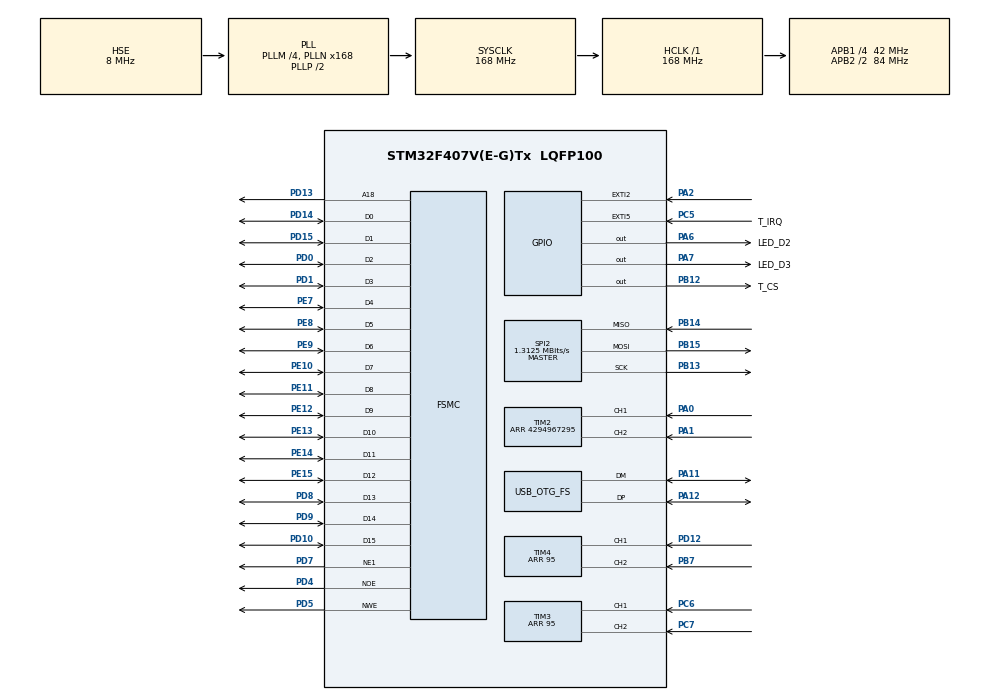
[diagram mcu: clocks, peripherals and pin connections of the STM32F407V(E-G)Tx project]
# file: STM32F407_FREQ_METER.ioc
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FSMC.AddressSetupTime1=6
FSMC.BusTurnAroundDuration1=0
FSMC.DataSetupTime1=6
Mcu.Family=STM32F4
Mcu.Name=STM32F407V(E-G)Tx
Mcu.Package=LQFP100
NVIC.EXTI2_IRQn=true\:0\:0\:false\:false\:true\:true\:true
NVIC.EXTI9_5_IRQn=true\:0\:0\:false\:false\:true\:true\:true
NVIC.OTG_FS_IRQn=true\:0\:0\:false\:false\:true\:false\:true
NVIC.PriorityGroup=NVIC_PRIORITYGROUP_4
NVIC.TIM2_IRQn=true\:0\:0\:false\:false\:true\:true\:true
NVIC.TIM3_IRQn=true\:0\:0\:false\:false\:true\:true\:true
NVIC.TIM4_IRQn=true\:0\:0\:false\:false\:true\:true\:true
PA0-WKUP.GPIO_PuPd=GPIO_PULLUP
PA0-WKUP.Signal=S_TIM2_CH1_ETR
PA1.GPIO_PuPd=GPIO_PULLUP
PA1.Signal=S_TIM2_CH2
PA11.Mode=Device_Only
PA11.Signal=USB_OTG_FS_DM
PA12.Mode=Device_Only
PA12.Signal=USB_OTG_FS_DP
PA13.Mode=JTAG_5_pins
PA13.Signal=SYS_JTMS-SWDIO
PA14.Mode=JTAG_5_pins
PA14.Signal=SYS_JTCK-SWCLK
PA15.Mode=JTAG_5_pins
PA15.Signal=SYS_JTDI
PA2.GPIO_ModeDefaultEXTI=GPIO_MODE_IT_RISING_FALLING
PA2.GPIO_PuPd=GPIO_PULLUP
PA2.Signal=GPXTI2
PA6.GPIO_Label=LED_D2
PA6.Signal=GPIO_Output
PA7.GPIO_Label=LED_D3
PA7.Signal=GPIO_Output
PB12.GPIO_Label=T_CS
PB12.GPIO_PuPd=GPIO_PULLUP
PB12.GPIO_Speed=GPIO_SPEED_FREQ_HIGH
PB12.PinState=GPIO_PIN_SET
PB12.Signal=GPIO_Output
PB13.Mode=Full_Duplex_Master
PB13.Signal=SPI2_SCK
PB14.Mode=Full_Duplex_Master
PB14.Signal=SPI2_MISO
PB15.Mode=Full_Duplex_Master
PB15.Signal=SPI2_MOSI
PB3.Mode=JTAG_5_pins
PB3.Signal=SYS_JTDO-SWO
PB4.Mode=JTAG_5_pins
PB4.Signal=SYS_JTRST
PB7.Signal=S_TIM4_CH2
PC14-OSC32_IN.Mode=LSE-External-Oscillator
PC14-OSC32_IN.Signal=RCC_OSC32_IN
PC15-OSC32_OUT.Mode=LSE-External-Oscillator
PC15-OSC32_OUT.Signal=RCC_OSC32_OUT
PC5.GPIO_Label=T_IRQ
PC5.GPIO_ModeDefaultEXTI=GPIO_MODE_IT_RISING_FALLING
PC5.GPIO_PuPd=GPIO_PULLUP
PC5.Signal=GPXTI5
PC6.GPIO_PuPd=GPIO_PULLUP
PC6.Signal=S_TIM3_CH1
PC7.GPIO_PuPd=GPIO_PULLUP
PC7.Signal=S_TIM3_CH2
PD0.Mode=16b-d1
PD0.Signal=FSMC_D2
PD1.Mode=16b-d1
PD1.Signal=FSMC_D3
PD10.Mode=16b-d1
PD10.Signal=FSMC_D15
PD12.Signal=S_TIM4_CH1
PD13.Mode=A18_1
PD13.Signal=FSMC_A18
PD14.Mode=16b-d1
PD14.Signal=FSMC_D0
PD15.Mode=16b-d1
PD15.Signal=FSMC_D1
PD4.Mode=Lcd1
PD4.Signal=FSMC_NOE
PD5.Mode=Lcd1
PD5.Signal=FSMC_NWE
PD7.Mode=NorPsramChipSelect1_1
PD7.Signal=FSMC_NE1
PD8.Mode=16b-d1
PD8.Signal=FSMC_D13
PD9.Mode=16b-d1
PD9.Signal=FSMC_D14
PE10.Mode=16b-d1
PE10.Signal=FSMC_D7
PE11.Mode=16b-d1
PE11.Signal=FSMC_D8
PE12.Mode=16b-d1
PE12.Signal=FSMC_D9
PE13.Mode=16b-d1
PE13.Signal=FSMC_D10
PE14.Mode=16b-d1
PE14.Signal=FSMC_D11
PE15.Mode=16b-d1
PE15.Signal=FSMC_D12
PE7.Mode=16b-d1
PE7.Signal=FSMC_D4
PE8.Mode=16b-d1
PE8.Signal=FSMC_D5
PE9.Mode=16b-d1
PE9.Signal=FSMC_D6
PH0-OSC_IN.Mode=HSE-External-Oscillator
PH0-OSC_IN.Signal=RCC_OSC_IN
PH1-OSC_OUT.Mode=HSE-External-Oscillator
PH1-OSC_OUT.Signal=RCC_OSC_OUT
ProjectManager.HeapSize=0x200
ProjectManager.StackSize=0x400
ProjectManager.TargetToolchain=Makefile
RCC.48MHZClocksFreq_Value=48000000
RCC.AHBFreq_Value=168000000
RCC.APB1CLKDivider=RCC_HCLK_DIV4
RCC.APB1Freq_Value=42000000
RCC.APB1TimFreq_Value=84000000
RCC.APB2CLKDivider=RCC_HCLK_DIV2
RCC.APB2Freq_Value=84000000
RCC.APB2TimFreq_Value=168000000
RCC.CortexFreq_Value=168000000
RCC.HCLKFreq_Value=168000000
RCC.HSE_VALUE=8000000
RCC.HSI_VALUE=16000000
RCC.PLLM=4
RCC.PLLN=168
RCC.PLLQ=7
RCC.RCC_RTC_Clock_Source=RCC_RTCCLKSOURCE_LSE
RCC.RCC_RTC_Clock_SourceVirtual=RCC_RTCCLKSOURCE_LSE
RCC.SYSCLKFreq_VALUE=168000000
RCC.SYSCLKSource=RCC_SYSCLKSOURCE_PLLCLK
RCC.VCOOutputFreq_Value=336000000
SH.S_TIM2_CH1_ETR.0=TIM2_CH1,Encoder_Interface
SH.S_TIM2_CH2.0=TIM2_CH2,Encoder_Interface
SH.S_TIM3_CH1.0=TIM3_CH1,Encoder_Interface
SH.S_TIM3_CH2.0=TIM3_CH2,Encoder_Interface
SH.S_TIM4_CH1.0=TIM4_CH1,Encoder_Interface
SH.S_TIM4_CH2.0=TIM4_CH2,Encoder_Interface
SPI2.BaudRatePrescaler=SPI_BAUDRATEPRESCALER_32
SPI2.CalculateBaudRate=1.3125 MBits/s
SPI2.Direction=SPI_DIRECTION_2LINES
SPI2.Mode=SPI_MODE_MASTER
SPI2.VirtualType=VM_MASTER
TIM2.ClockDivision=TIM_CLOCKDIVISION_DIV2
TIM2.EncoderMode=TIM_ENCODERMODE_TI12
TIM2.IC1Filter=1
TIM2.IC1Polarity=TIM_ICPOLARITY_FALLING
TIM2.IC1Prescaler=TIM_ICPSC_DIV2
TIM2.IC2Filter=1
TIM2.IC2Polarity=TIM_ICPOLARITY_FALLING
TIM2.IC2Prescaler=TIM_ICPSC_DIV2
TIM2.Period=4294967295
TIM3.ClockDivision=TIM_CLOCKDIVISION_DIV2
TIM3.EncoderMode=TIM_ENCODERMODE_TI12
TIM3.IC1Filter=1
TIM3.IC1Polarity=TIM_ICPOLARITY_FALLING
TIM3.IC1Prescaler=TIM_ICPSC_DIV2
TIM3.IC2Filter=1
TIM3.IC2Polarity=TIM_ICPOLARITY_FALLING
TIM3.IC2Prescaler=TIM_ICPSC_DIV2
TIM3.Period=95
TIM4.ClockDivision=TIM_CLOCKDIVISION_DIV2
TIM4.EncoderMode=TIM_ENCODERMODE_TI12
TIM4.IC1Filter=1
TIM4.IC1Polarity=TIM_ICPOLARITY_FALLING
TIM4.IC1Prescaler=TIM_ICPSC_DIV2
TIM4.IC2Filter=1
TIM4.IC2Polarity=TIM_ICPOLARITY_FALLING
TIM4.IC2Prescaler=TIM_ICPSC_DIV2
TIM4.Period=95
USB_DEVICE.CLASS_NAME_FS=CDC
USB_DEVICE.VirtualMode-CDC_FS=Cdc
USB_DEVICE.VirtualModeFS=Cdc_FS
USB_OTG_FS.VirtualMode=Device_Only
VP_RTC_VS_RTC_Activate.Mode=RTC_Enabled
VP_RTC_VS_RTC_Calendar.Mode=RTC_Calendar
VP_USB_DEVICE_VS_USB_DEVICE_CDC_FS.Mode=CDC_FS
board=custom

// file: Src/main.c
/* USER CODE BEGIN Header */
/**
  ******************************************************************************
  * @file           : main.c
  * @brief          : Main program body
  ******************************************************************************
  * @attention
  *
  * <h2><center>&copy; Copyright (c) 2020 STMicroelectronics.
  * All rights reserved.</center></h2>
  *
  * This software component is licensed by ST under BSD 3-Clause license,
  * the "License"; You may not use this file except in compliance with the
  * License. You may obtain a copy of the License at:
  *                        opensource.org/licenses/BSD-3-Clause
  *
  ******************************************************************************
  */
/* USER CODE END Header */

#include "main.h"

RTC_HandleTypeDef hrtc;

SPI_HandleTypeDef hspi2;

TIM_HandleTypeDef htim2;
TIM_HandleTypeDef htim3;
TIM_HandleTypeDef htim4;

SRAM_HandleTypeDef hsram1;

/* USER CODE BEGIN PV */

int32_t broiach = 0;
double *dblcnahge;
const double dblstep = 0.0001;

//sram_t *sram = (uint32_t *) BKPSRAM;

double dxarr[] = {0.0, 1.1, -2.2, 3.3};
double dyarr[] = {0.0, 1.11, -2.21, 3.31};

//zadanie
double x = 0.0033;
double y = 0.0004;
//  double z = 0.0005;

//touch screen
uint16_t xtouch;
uint16_t ytouch;
bool fingerdown;

const int arrsize = sizeof(dxarr)/sizeof(double);

/* USER CODE END PV */

void SystemClock_Config(void);
static void MX_GPIO_Init(void);
static void MX_FSMC_Init(void);
static void MX_SPI2_Init(void);
static void MX_TIM2_Init(void);
static void MX_TIM3_Init(void);
static void MX_RTC_Init(void);
static void MX_TIM4_Init(void);

/* USER CODE BEGIN 0 */

#ifdef __GNUC__
/* With GCC/RAISONANCE, small printf (option LD Linker->Libraries->Small printf
   set to 'Yes') calls __io_putchar() */
#define PUTCHAR_PROTOTYPE int __io_putchar(int ch)
#else
#define PUTCHAR_PROTOTYPE int fputc(int ch, FILE *f)
#endif /* __GNUC__ */
/**
 * @brief  Retargets the C library printf function to the USART.
 * @param  None
 * @retval None
 */
PUTCHAR_PROTOTYPE {
  /* Place your implementation of fputc here */
  /* e.g. write a character to the EVAL_COM1 and Loop until the end of
   * transmission */
//    const char buffer[] = "G";
//    HAL_GPIO_TogglePin(LED_D2_GPIO_Port, LED_D2_Pin);
//  HAL_UART_Transmit(&huart1, (uint8_t *)&ch, 1, 0xFFFF);
//#error "putchar prototype not defined!"
//    while(!(CDC_Transmit_FS(ch, 1) == USBD_BUSY));
    CDC_Transmit_FS(ch, 1);
  return ch;
}

//fixme. Z signal processing
void HAL_GPIO_EXTI_Callback(uint16_t GPIO_Pin)
{
    if (GPIO_Pin == T_IRQ_Pin)          //irq from touch screen
    {
     if(XPT2046_TouchPressed())
     {
         fingerdown = true;
      uint16_t m_x = 0, y = 0;
      if(XPT2046_TouchGetCoordinates(&m_x, &y))
      {
          xtouch = m_x;
          ytouch = y;
//       lcdFillCircle((lcdGetWidth() - x), y, 2, COLOR_GREENYELLOW);
        ILI9341_Fill_Rect(256-m_x, y, 256-m_x+1, y+1, COLOR_YELLOW);
//        BKPT;
      }
      TIM2->CNT = 0;
     } else {
         fingerdown = false;
     }
    }

//  uint16_t pinstate = GPIOA->IDR;

//  if (GPIO_Pin & GPIO_PIN_2) {
//     if ( (pinstate & GPIO_PIN_2) ) {
//        TIM2->CNT = 7999;
//     } else {
//        //here
//        TIM2->CNT = 0;
//     }
//  }

  return;
}

void HAL_TIM_IC_CaptureCallback(TIM_HandleTypeDef *htim)
{
    BKPT;
}

uint8_t moved(int kolko)
{

    //fixme - niakoi pyt trygvame ot nechetna stojnost - ili predi
    //da se go setna na 128 - idva impuls
    if (abs(kolko) % 4) {
        //ne sme mrydnali dostatychno -
        return 0;
    }

    if (kolko > 0) {
        if ((broiach + abs(kolko)/4) < arrsize) {     //fixme.. array size
            broiach += kolko/4;
        } else {
            (*dblcnahge) += dblstep;
        }
        return 1;
    }

    if (kolko < 0) {
        if ( (broiach - abs(kolko)/4) >= 0) {
            broiach -= abs(kolko)/4;
        } else {
            (*dblcnahge) -= dblstep;
        }
        return 1;
    }
}

void processtim2()
{
//    uint32_t val = TIM2->CNT;
//    if (val == 128)
//        return;
//    if (moved(128-val)) {
//        TIM2->CNT = 128;
//    }
}

/** (using the HAL library) backup SRAM initialization
 *
 * @param[in]   NULL
 * @retval      Null
**/
void BKP_SRAM_Init(void)
{
    /* Power interface clock enable */
    __HAL_RCC_PWR_CLK_ENABLE();

    /* DBP location 1, enabling access to the backup domain */
    HAL_PWR_EnableBkUpAccess();

    /* Enables backup of the SRAM clock by setting the BKPSRAMEN bit in the RCC AHB1 peripheral clock enable register (RCC_AHB1ENR) */
    __HAL_RCC_BKPSRAM_CLK_ENABLE();

    /* The application must wait for the Backup Regulator Ready Flag (BRR) to be set to 1, indicating that the data written to RAM will be held in standby mode and VBAT mode. */
    HAL_PWREx_EnableBkUpReg();
}

/* USER CODE END 0 */

int main(void)
{

  /* MCU Configuration--------------------------------------------------------*/

  /* Reset of all peripherals, Initializes the Flash interface and the Systick. */
  HAL_Init();

  /* Configure the system clock */
  SystemClock_Config();

  /* Initialize all configured peripherals */
  MX_GPIO_Init();
  MX_FSMC_Init();
  MX_SPI2_Init();
  MX_USB_DEVICE_Init();
  MX_TIM2_Init();
  MX_TIM3_Init();
  MX_RTC_Init();
  MX_TIM4_Init();
  /* USER CODE BEGIN 2 */

  USB_Enumeration();

  BKP_SRAM_Init();

  HAL_PWR_EnableBkUpAccess();       //SRAM

  HAL_TIM_Encoder_Start(&htim2,TIM_CHANNEL_ALL);        //manual encoder
  HAL_TIM_Encoder_Start(&htim3,TIM_CHANNEL_ALL);        //X axis
  HAL_TIM_Encoder_Start(&htim4,TIM_CHANNEL_ALL);        //Y axis

//  HAL_GPIO_WritePin(RST_GPIO_Port, RST_Pin, GPIO_PIN_RESET);
//  HAL_Delay(10);
//  HAL_GPIO_WritePin(RST_GPIO_Port, RST_Pin, GPIO_PIN_SET);

  ILI9341_Init();
  ILI9341_setRotation(3);
  ILI9341_Fill(COLOR_BLACK);

//  //Draw and fill circle
//  ILI9341_drawCircle(50,50, 40, COLOR_GREEN);
//  ILI9341_fillCircle(110,190, 80, COLOR_RED);

//  //Print text
//  ILI9341_printText("LZ3NY", 20, 80, COLOR_YELLOW, COLOR_YELLOW, 4);
//  ILI9341_printText("LZ1CCM", 20, 120, COLOR_YELLOW, COLOR_YELLOW, 4);
//  //Print-Fill triangle
//  ILI9341_fillTriangle(10, 160, 110, 160, 190, 300, COLOR_BLACK);

//  HAL_Delay(1000);

//  ILI9341_printImage(50, 50, 80, 130, myImage, sizeof(myImage));

  /* USER CODE END 2 */

  /* Infinite loop */
  /* USER CODE BEGIN WHILE */

  //fixme later
  //actual -deistvitelni
//  double xact = 0.0001;
//  double yact = 0.0002;
//  double zact = 0.0003;

  uint32_t proba = 124;         //raboti

//  HAL_RTCEx_BKUPWrite(&hrtc, 0, proba);

  proba = HAL_RTCEx_BKUPRead(&hrtc, 0);

  //fixme
  dblcnahge = &x;

  char buffx[32] = "NOT SET!";
  char buffy[32] = "NOT SET!";
//  char buffz[32] = "NOT SET!";

  char buffdx[32] = "NOT SET!";
  char buffdy[32] = "NOT SET!";
//  char buffzact[32] = "NOT SET!";

  char buffenc2[32] = "NOT SET!";
  char buffenc3[32] = "NOT SET!";
  char buffenc4[32] = "NOT SET!";
  char buffenc5[32] = "NOT SET!";
  char buffenc6[32] = "NOT SET!";
  char buffenc7[32] = "NOT SET!";

  char buffencbroiach[32] = "NOT SET!";

//  int i = 0;

  TIM2->CNT = 0;

//  HAL_SRAM_Write_8b(&hsram1, 0, &x, sizeof(double));
//  HAL_SRAM_Read_8b(&hsram1, 0, &x, sizeof(double));

  while (1)
  {
      //dolnoto e za metri
//      x = TIM2->CNT*0.000005; //5 microns       //preventva nuliraneto ot touch pressed
      //in mm
      x = TIM2->CNT*0.005; //5 microns       //preventva nuliraneto ot touch pressed
    /* USER CODE END WHILE */

    /* USER CODE BEGIN 3 */
    //Draw and fill circle
//    ILI9341_drawCircle(50,50, 40, COLOR_GREEN);
//    ILI9341_fillCircle(110,190, 80, COLOR_RED);

//    ILI9341_Fill(COLOR_BLACK);
      ILI9341_Fill_Rect(0, 0, 256, 124, COLOR_BLUE);

    HAL_GPIO_TogglePin(LED_D2_GPIO_Port, LED_D2_Pin);

    sprintf(buffx, "X:%09.3f mm", x+dxarr[broiach]);      //da se umnozhava po 2 - raius/diametyr na struga
    sprintf(buffy, "Y:%09.3f mm", y+dyarr[broiach]);

    sprintf(buffdx, "dX:%09.3f mm", dxarr[broiach]);
    sprintf(buffdy, "dY:%09.3f mm", dyarr[broiach]);

    sprintf(buffenc2, "%u", TIM2->CNT);
    sprintf(buffenc3, "%u", TIM3->CNT);
    sprintf(buffenc4, "%u", TIM4->CNT);
    sprintf(buffenc5, "%u", proba);
    sprintf(buffenc6, "%u", xtouch);
    sprintf(buffenc7, "%u", ytouch);

    sprintf(buffencbroiach, "%d", broiach);

    //ILI9341_printText2 not needed!

    //Print text
    ILI9341_printText(buffx, 10,  5, COLOR_YELLOW, COLOR_YELLOW, 1);
    ILI9341_printText(buffy, 10, 15, COLOR_YELLOW, COLOR_YELLOW, 1);
//    ILI9341_printText(buffz, 10, 25, COLOR_YELLOW, COLOR_YELLOW, 1);

    ILI9341_printText(buffdx, 130,  5, COLOR_YELLOW, COLOR_YELLOW, 1);
    ILI9341_printText(buffdy, 130, 15, COLOR_YELLOW, COLOR_YELLOW, 1);
//    ILI9341_printText(buffzact, 130, 25, COLOR_YELLOW, COLOR_YELLOW, 1);

    ILI9341_printText(buffenc2, 10, 35, COLOR_YELLOW, COLOR_YELLOW, 1);
    ILI9341_printText(buffenc3, 10, 45, COLOR_YELLOW, COLOR_YELLOW, 1);
    ILI9341_printText(buffenc4, 10, 55, COLOR_YELLOW, COLOR_YELLOW, 1);
    ILI9341_printText(buffenc5, 10, 65, COLOR_YELLOW, COLOR_YELLOW, 1);
    ILI9341_printText(buffenc6, 10, 75, COLOR_YELLOW, COLOR_YELLOW, 1);
    ILI9341_printText(buffenc7, 10, 85, COLOR_YELLOW, COLOR_YELLOW, 1);
    ILI9341_printText(buffencbroiach, 10, 95, COLOR_YELLOW, COLOR_YELLOW, 4);

//    x += 10.0001;y += 11.0001;z += 12.0001;
//    xact += 13.0001;yact += 14.0001;zact += 15.0001;

    //Print-Fill triangle
//    ILI9341_fillTriangle(10, 160, 110, 160, 190, 300, COLOR_BLACK);
//    HAL_Delay(1000);
//    ILI9341_printText("LZ1CCM", 20, 120, COLOR_YELLOW, COLOR_YELLOW, 4);
//    HAL_Delay(1000);

//    CDC_Transmit_FS(buffer, sizeof(buffer));

//    printf("cnt:%03d\r\n", i++);
//    processtim2();
    HAL_Delay(200);

    HAL_GPIO_TogglePin(LED_D3_GPIO_Port, LED_D3_Pin);
  }
  /* USER CODE END 3 */
}

void SystemClock_Config(void)
{
  RCC_OscInitTypeDef RCC_OscInitStruct = {0};
  RCC_ClkInitTypeDef RCC_ClkInitStruct = {0};
  RCC_PeriphCLKInitTypeDef PeriphClkInitStruct = {0};

  /** Configure the main internal regulator output voltage
  */
  __HAL_RCC_PWR_CLK_ENABLE();
  __HAL_PWR_VOLTAGESCALING_CONFIG(PWR_REGULATOR_VOLTAGE_SCALE1);
  /** Initializes the CPU, AHB and APB busses clocks
  */
  RCC_OscInitStruct.OscillatorType = RCC_OSCILLATORTYPE_HSE|RCC_OSCILLATORTYPE_LSE;
  RCC_OscInitStruct.HSEState = RCC_HSE_ON;
  RCC_OscInitStruct.LSEState = RCC_LSE_ON;
  RCC_OscInitStruct.PLL.PLLState = RCC_PLL_ON;
  RCC_OscInitStruct.PLL.PLLSource = RCC_PLLSOURCE_HSE;
  RCC_OscInitStruct.PLL.PLLM = 4;
  RCC_OscInitStruct.PLL.PLLN = 168;
  RCC_OscInitStruct.PLL.PLLP = RCC_PLLP_DIV2;
  RCC_OscInitStruct.PLL.PLLQ = 7;
  if (HAL_RCC_OscConfig(&RCC_OscInitStruct) != HAL_OK)
  {
    Error_Handler();
  }
  /** Initializes the CPU, AHB and APB busses clocks
  */
  RCC_ClkInitStruct.ClockType = RCC_CLOCKTYPE_HCLK|RCC_CLOCKTYPE_SYSCLK
                              |RCC_CLOCKTYPE_PCLK1|RCC_CLOCKTYPE_PCLK2;
  RCC_ClkInitStruct.SYSCLKSource = RCC_SYSCLKSOURCE_PLLCLK;
  RCC_ClkInitStruct.AHBCLKDivider = RCC_SYSCLK_DIV1;
  RCC_ClkInitStruct.APB1CLKDivider = RCC_HCLK_DIV4;
  RCC_ClkInitStruct.APB2CLKDivider = RCC_HCLK_DIV2;

  if (HAL_RCC_ClockConfig(&RCC_ClkInitStruct, FLASH_LATENCY_5) != HAL_OK)
  {
    Error_Handler();
  }
  PeriphClkInitStruct.PeriphClockSelection = RCC_PERIPHCLK_RTC;
  PeriphClkInitStruct.RTCClockSelection = RCC_RTCCLKSOURCE_LSE;
  if (HAL_RCCEx_PeriphCLKConfig(&PeriphClkInitStruct) != HAL_OK)
  {
    Error_Handler();
  }
}

static void MX_RTC_Init(void)
{

  RTC_TimeTypeDef sTime = {0};
  RTC_DateTypeDef sDate = {0};

  /** Initialize RTC Only
  */
  hrtc.Instance = RTC;
  hrtc.Init.HourFormat = RTC_HOURFORMAT_24;
  hrtc.Init.AsynchPrediv = 127;
  hrtc.Init.SynchPrediv = 255;
  hrtc.Init.OutPut = RTC_OUTPUT_DISABLE;
  hrtc.Init.OutPutPolarity = RTC_OUTPUT_POLARITY_HIGH;
  hrtc.Init.OutPutType = RTC_OUTPUT_TYPE_OPENDRAIN;
  if (HAL_RTC_Init(&hrtc) != HAL_OK)
  {
    Error_Handler();
  }

  /** Initialize RTC and set the Time and Date
  */
  sTime.Hours = 0x1;
  sTime.Minutes = 0x2;
  sTime.Seconds = 0x3;
  sTime.DayLightSaving = RTC_DAYLIGHTSAVING_NONE;
  sTime.StoreOperation = RTC_STOREOPERATION_RESET;
  if (HAL_RTC_SetTime(&hrtc, &sTime, RTC_FORMAT_BCD) != HAL_OK)
  {
    Error_Handler();
  }
  sDate.WeekDay = RTC_WEEKDAY_MONDAY;
  sDate.Month = RTC_MONTH_JANUARY;
  sDate.Date = 0x07;
  sDate.Year = 0x07;

  if (HAL_RTC_SetDate(&hrtc, &sDate, RTC_FORMAT_BCD) != HAL_OK)
  {
    Error_Handler();
  }

}

static void MX_SPI2_Init(void)
{

  /* SPI2 parameter configuration*/
  hspi2.Instance = SPI2;
  hspi2.Init.Mode = SPI_MODE_MASTER;
  hspi2.Init.Direction = SPI_DIRECTION_2LINES;
  hspi2.Init.DataSize = SPI_DATASIZE_8BIT;
  hspi2.Init.CLKPolarity = SPI_POLARITY_LOW;
  hspi2.Init.CLKPhase = SPI_PHASE_1EDGE;
  hspi2.Init.NSS = SPI_NSS_SOFT;
  hspi2.Init.BaudRatePrescaler = SPI_BAUDRATEPRESCALER_32;
  hspi2.Init.FirstBit = SPI_FIRSTBIT_MSB;
  hspi2.Init.TIMode = SPI_TIMODE_DISABLE;
  hspi2.Init.CRCCalculation = SPI_CRCCALCULATION_DISABLE;
  hspi2.Init.CRCPolynomial = 10;
  if (HAL_SPI_Init(&hspi2) != HAL_OK)
  {
    Error_Handler();
  }

}

static void MX_TIM2_Init(void)
{

  TIM_Encoder_InitTypeDef sConfig = {0};
  TIM_MasterConfigTypeDef sMasterConfig = {0};

  htim2.Instance = TIM2;
  htim2.Init.Prescaler = 0;
  htim2.Init.CounterMode = TIM_COUNTERMODE_UP;
  htim2.Init.Period = 4294967295;
  htim2.Init.ClockDivision = TIM_CLOCKDIVISION_DIV2;
  htim2.Init.AutoReloadPreload = TIM_AUTORELOAD_PRELOAD_DISABLE;
  sConfig.EncoderMode = TIM_ENCODERMODE_TI12;
  sConfig.IC1Polarity = TIM_ICPOLARITY_FALLING;
  sConfig.IC1Selection = TIM_ICSELECTION_DIRECTTI;
  sConfig.IC1Prescaler = TIM_ICPSC_DIV2;
  sConfig.IC1Filter = 1;
  sConfig.IC2Polarity = TIM_ICPOLARITY_FALLING;
  sConfig.IC2Selection = TIM_ICSELECTION_DIRECTTI;
  sConfig.IC2Prescaler = TIM_ICPSC_DIV2;
  sConfig.IC2Filter = 1;
  if (HAL_TIM_Encoder_Init(&htim2, &sConfig) != HAL_OK)
  {
    Error_Handler();
  }
  sMasterConfig.MasterOutputTrigger = TIM_TRGO_RESET;
  sMasterConfig.MasterSlaveMode = TIM_MASTERSLAVEMODE_DISABLE;
  if (HAL_TIMEx_MasterConfigSynchronization(&htim2, &sMasterConfig) != HAL_OK)
  {
    Error_Handler();
  }

}

static void MX_TIM3_Init(void)
{

  TIM_Encoder_InitTypeDef sConfig = {0};
  TIM_MasterConfigTypeDef sMasterConfig = {0};

  htim3.Instance = TIM3;
  htim3.Init.Prescaler = 0;
  htim3.Init.CounterMode = TIM_COUNTERMODE_UP;
  htim3.Init.Period = 95;
  htim3.Init.ClockDivision = TIM_CLOCKDIVISION_DIV2;
  htim3.Init.AutoReloadPreload = TIM_AUTORELOAD_PRELOAD_DISABLE;
  sConfig.EncoderMode = TIM_ENCODERMODE_TI12;
  sConfig.IC1Polarity = TIM_ICPOLARITY_FALLING;
  sConfig.IC1Selection = TIM_ICSELECTION_DIRECTTI;
  sConfig.IC1Prescaler = TIM_ICPSC_DIV2;
  sConfig.IC1Filter = 1;
  sConfig.IC2Polarity = TIM_ICPOLARITY_FALLING;
  sConfig.IC2Selection = TIM_ICSELECTION_DIRECTTI;
  sConfig.IC2Prescaler = TIM_ICPSC_DIV2;
  sConfig.IC2Filter = 1;
  if (HAL_TIM_Encoder_Init(&htim3, &sConfig) != HAL_OK)
  {
    Error_Handler();
  }
  sMasterConfig.MasterOutputTrigger = TIM_TRGO_RESET;
  sMasterConfig.MasterSlaveMode = TIM_MASTERSLAVEMODE_DISABLE;
  if (HAL_TIMEx_MasterConfigSynchronization(&htim3, &sMasterConfig) != HAL_OK)
  {
    Error_Handler();
  }

}

static void MX_TIM4_Init(void)
{

  TIM_Encoder_InitTypeDef sConfig = {0};
  TIM_MasterConfigTypeDef sMasterConfig = {0};

  htim4.Instance = TIM4;
  htim4.Init.Prescaler = 0;
  htim4.Init.CounterMode = TIM_COUNTERMODE_UP;
  htim4.Init.Period = 95;
  htim4.Init.ClockDivision = TIM_CLOCKDIVISION_DIV2;
  htim4.Init.AutoReloadPreload = TIM_AUTORELOAD_PRELOAD_DISABLE;
  sConfig.EncoderMode = TIM_ENCODERMODE_TI12;
  sConfig.IC1Polarity = TIM_ICPOLARITY_FALLING;
  sConfig.IC1Selection = TIM_ICSELECTION_DIRECTTI;
  sConfig.IC1Prescaler = TIM_ICPSC_DIV2;
  sConfig.IC1Filter = 1;
  sConfig.IC2Polarity = TIM_ICPOLARITY_FALLING;
  sConfig.IC2Selection = TIM_ICSELECTION_DIRECTTI;
  sConfig.IC2Prescaler = TIM_ICPSC_DIV2;
  sConfig.IC2Filter = 1;
  if (HAL_TIM_Encoder_Init(&htim4, &sConfig) != HAL_OK)
  {
    Error_Handler();
  }
  sMasterConfig.MasterOutputTrigger = TIM_TRGO_RESET;
  sMasterConfig.MasterSlaveMode = TIM_MASTERSLAVEMODE_DISABLE;
  if (HAL_TIMEx_MasterConfigSynchronization(&htim4, &sMasterConfig) != HAL_OK)
  {
    Error_Handler();
  }

}

static void MX_GPIO_Init(void)
{
  GPIO_InitTypeDef GPIO_InitStruct = {0};

  /* GPIO Ports Clock Enable */
  __HAL_RCC_GPIOE_CLK_ENABLE();
  __HAL_RCC_GPIOC_CLK_ENABLE();
  __HAL_RCC_GPIOH_CLK_ENABLE();
  __HAL_RCC_GPIOA_CLK_ENABLE();
  __HAL_RCC_GPIOB_CLK_ENABLE();
  __HAL_RCC_GPIOD_CLK_ENABLE();

  /*Configure GPIO pin Output Level */
  HAL_GPIO_WritePin(GPIOA, LED_D2_Pin|LED_D3_Pin, GPIO_PIN_RESET);

  /*Configure GPIO pin Output Level */
  HAL_GPIO_WritePin(T_CS_GPIO_Port, T_CS_Pin, GPIO_PIN_SET);

  /*Configure GPIO pins : PE2 PE3 PE4 PE5
                           PE6 PE0 PE1 */
  GPIO_InitStruct.Pin = GPIO_PIN_2|GPIO_PIN_3|GPIO_PIN_4|GPIO_PIN_5
                          |GPIO_PIN_6|GPIO_PIN_0|GPIO_PIN_1;
  GPIO_InitStruct.Mode = GPIO_MODE_ANALOG;
  GPIO_InitStruct.Pull = GPIO_NOPULL;
  HAL_GPIO_Init(GPIOE, &GPIO_InitStruct);

  /*Configure GPIO pins : PC13 PC0 PC1 PC2
                           PC3 PC4 PC8 PC9
                           PC10 PC11 PC12 */
  GPIO_InitStruct.Pin = GPIO_PIN_13|GPIO_PIN_0|GPIO_PIN_1|GPIO_PIN_2
                          |GPIO_PIN_3|GPIO_PIN_4|GPIO_PIN_8|GPIO_PIN_9
                          |GPIO_PIN_10|GPIO_PIN_11|GPIO_PIN_12;
  GPIO_InitStruct.Mode = GPIO_MODE_ANALOG;
  GPIO_InitStruct.Pull = GPIO_NOPULL;
  HAL_GPIO_Init(GPIOC, &GPIO_InitStruct);

  /*Configure GPIO pin : PA2 */
  GPIO_InitStruct.Pin = GPIO_PIN_2;
  GPIO_InitStruct.Mode = GPIO_MODE_IT_RISING_FALLING;
  GPIO_InitStruct.Pull = GPIO_PULLUP;
  HAL_GPIO_Init(GPIOA, &GPIO_InitStruct);

  /*Configure GPIO pins : PA3 PA4 PA5 PA8
                           PA9 PA10 */
  GPIO_InitStruct.Pin = GPIO_PIN_3|GPIO_PIN_4|GPIO_PIN_5|GPIO_PIN_8
                          |GPIO_PIN_9|GPIO_PIN_10;
  GPIO_InitStruct.Mode = GPIO_MODE_ANALOG;
  GPIO_InitStruct.Pull = GPIO_NOPULL;
  HAL_GPIO_Init(GPIOA, &GPIO_InitStruct);

  /*Configure GPIO pins : LED_D2_Pin LED_D3_Pin */
  GPIO_InitStruct.Pin = LED_D2_Pin|LED_D3_Pin;
  GPIO_InitStruct.Mode = GPIO_MODE_OUTPUT_PP;
  GPIO_InitStruct.Pull = GPIO_NOPULL;
  GPIO_InitStruct.Speed = GPIO_SPEED_FREQ_LOW;
  HAL_GPIO_Init(GPIOA, &GPIO_InitStruct);

  /*Configure GPIO pin : T_IRQ_Pin */
  GPIO_InitStruct.Pin = T_IRQ_Pin;
  GPIO_InitStruct.Mode = GPIO_MODE_IT_RISING_FALLING;
  GPIO_InitStruct.Pull = GPIO_PULLUP;
  HAL_GPIO_Init(T_IRQ_GPIO_Port, &GPIO_InitStruct);

  /*Configure GPIO pins : PB0 PB1 PB2 PB10
                           PB11 PB5 PB6 PB8
                           PB9 */
  GPIO_InitStruct.Pin = GPIO_PIN_0|GPIO_PIN_1|GPIO_PIN_2|GPIO_PIN_10
                          |GPIO_PIN_11|GPIO_PIN_5|GPIO_PIN_6|GPIO_PIN_8
                          |GPIO_PIN_9;
  GPIO_InitStruct.Mode = GPIO_MODE_ANALOG;
  GPIO_InitStruct.Pull = GPIO_NOPULL;
  HAL_GPIO_Init(GPIOB, &GPIO_InitStruct);

  /*Configure GPIO pin : T_CS_Pin */
  GPIO_InitStruct.Pin = T_CS_Pin;
  GPIO_InitStruct.Mode = GPIO_MODE_OUTPUT_PP;
  GPIO_InitStruct.Pull = GPIO_PULLUP;
  GPIO_InitStruct.Speed = GPIO_SPEED_FREQ_HIGH;
  HAL_GPIO_Init(T_CS_GPIO_Port, &GPIO_InitStruct);

  /*Configure GPIO pins : PD11 PD2 PD3 PD6 */
  GPIO_InitStruct.Pin = GPIO_PIN_11|GPIO_PIN_2|GPIO_PIN_3|GPIO_PIN_6;
  GPIO_InitStruct.Mode = GPIO_MODE_ANALOG;
  GPIO_InitStruct.Pull = GPIO_NOPULL;
  HAL_GPIO_Init(GPIOD, &GPIO_InitStruct);

  /* EXTI interrupt init*/
  HAL_NVIC_SetPriority(EXTI2_IRQn, 0, 0);
  HAL_NVIC_EnableIRQ(EXTI2_IRQn);

  HAL_NVIC_SetPriority(EXTI9_5_IRQn, 0, 0);
  HAL_NVIC_EnableIRQ(EXTI9_5_IRQn);

}

/* FSMC initialization function */
static void MX_FSMC_Init(void)
{

  FSMC_NORSRAM_TimingTypeDef Timing = {0};

  /** Perform the SRAM1 memory initialization sequence
  */
  hsram1.Instance = FSMC_NORSRAM_DEVICE;
  hsram1.Extended = FSMC_NORSRAM_EXTENDED_DEVICE;
  /* hsram1.Init */
  hsram1.Init.NSBank = FSMC_NORSRAM_BANK1;
  hsram1.Init.DataAddressMux = FSMC_DATA_ADDRESS_MUX_DISABLE;
  hsram1.Init.MemoryType = FSMC_MEMORY_TYPE_SRAM;
  hsram1.Init.MemoryDataWidth = FSMC_NORSRAM_MEM_BUS_WIDTH_16;
  hsram1.Init.BurstAccessMode = FSMC_BURST_ACCESS_MODE_DISABLE;
  hsram1.Init.WaitSignalPolarity = FSMC_WAIT_SIGNAL_POLARITY_LOW;
  hsram1.Init.WrapMode = FSMC_WRAP_MODE_DISABLE;
  hsram1.Init.WaitSignalActive = FSMC_WAIT_TIMING_BEFORE_WS;
  hsram1.Init.WriteOperation = FSMC_WRITE_OPERATION_ENABLE;
  hsram1.Init.WaitSignal = FSMC_WAIT_SIGNAL_DISABLE;
  hsram1.Init.ExtendedMode = FSMC_EXTENDED_MODE_DISABLE;
  hsram1.Init.AsynchronousWait = FSMC_ASYNCHRONOUS_WAIT_DISABLE;
  hsram1.Init.WriteBurst = FSMC_WRITE_BURST_DISABLE;
  hsram1.Init.PageSize = FSMC_PAGE_SIZE_NONE;
  /* Timing */
  Timing.AddressSetupTime = 6;
  Timing.AddressHoldTime = 15;
  Timing.DataSetupTime = 6;
  Timing.BusTurnAroundDuration = 0;
  Timing.CLKDivision = 16;
  Timing.DataLatency = 17;
  Timing.AccessMode = FSMC_ACCESS_MODE_A;
  /* ExtTiming */

  if (HAL_SRAM_Init(&hsram1, &Timing, NULL) != HAL_OK)
  {
    Error_Handler( );
  }

}

/* USER CODE BEGIN 4 */

//PULL DOWN USB DP TO FORCE RENUMERATION
void USB_Enumeration()
{
    GPIO_InitTypeDef GPIO_InitStruct = {0};

    /*Configure GPIO pin Output Level */
    HAL_GPIO_WritePin(GPIOA, GPIO_PIN_12, GPIO_PIN_RESET);

    /*Configure GPIO pin : PA12 */
    GPIO_InitStruct.Pin = GPIO_PIN_12;
    GPIO_InitStruct.Mode = GPIO_MODE_OUTPUT_PP;
    GPIO_InitStruct.Pull = GPIO_PULLUP;
    GPIO_InitStruct.Speed = GPIO_SPEED_FREQ_LOW;
    HAL_GPIO_Init(GPIOA, &GPIO_InitStruct);

    HAL_Delay(100);
}

/* USER CODE END 4 */

void Error_Handler(void)
{
  /* USER CODE BEGIN Error_Handler_Debug */
  /* User can add his own implementation to report the HAL error return state */
    printf("Error_Handler\r\n");

  /* USER CODE END Error_Handler_Debug */
}

#ifdef  USE_FULL_ASSERT
/**
  * @brief  Reports the name of the source file and the source line number
  *         where the assert_param error has occurred.
  * @param  file: pointer to the source file name
  * @param  line: assert_param error line source number
  * @retval None
  */
void assert_failed(uint8_t *file, uint32_t line)
{
  /* USER CODE BEGIN 6 */
  /* User can add his own implementation to report the file name and line number,
     tex: printf("Wrong parameters value: file %s on line %d\r\n", file, line) */
    printf("Wrong parameters value: file %s on line %ld\r\n", file, line);
  /* USER CODE END 6 */
}
#endif /* USE_FULL_ASSERT */

/************************ (C) COPYRIGHT STMicroelectronics *****END OF FILE****/
